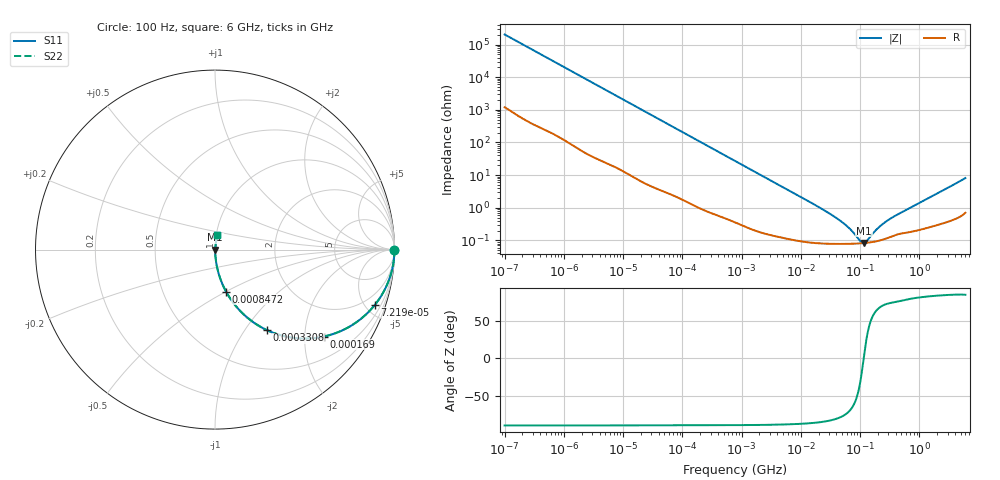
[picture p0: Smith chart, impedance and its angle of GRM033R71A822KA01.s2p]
!Murata Part Number: GRM033R71A822KA01
!These Parameters are Measured in Series Mode Connection
!Data Generated on Mar 30, 2021
!  o--ll--o
!Port1  Port2
!  o------o
!Operation Temp=25[degC], DC Bias Voltage=0[V]
!Freq. Start=100[Hz] Stop=6[GHz] 401[Steps]
# Hz S RI R 50
!Freq.(Hz) S11(Real) S11(Imag) S21(Real) S21(Imag) S12(Real) S12(Imag) S22(Real) S22(Imag)
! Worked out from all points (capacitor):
!   401 points, 100 Hz to 6 GHz, reference 50 ohm
!   read as one part in series: C = 7.78 nF near 109 Hz
!   lowest |Z| = 82.7 mohm at 116.7 MHz (marker M1)
!   series resonance near 115.1 MHz, so ESL is about 250 pH
!   S11 on the Smith chart (normalised r, x): 100 Hz: open; 72.19 kHz: 1.05, -5.79; 169 kHz: 1.02, -2.49; 330.8 kHz: 1.01, -1.27; 847.2 kHz: 1.01, -0.50; 6 GHz: 1.01, +0.16
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100  1 -0.00049  3.1e-06 0.00049  3.1e-06 0.00049  1 -0.00049
2008  0.9999 -0.00973  0.000147 0.00973  0.000147 0.00973  0.9999 -0.00973
12592  0.996 -0.0604  0.00404 0.0604  0.00404 0.0604  0.996 -0.0604
40335  0.9627 -0.186  0.0373 0.186  0.0373 0.186  0.9627 -0.186
72189  0.8916 -0.307  0.1084 0.307  0.1084 0.307  0.8916 -0.307
108014  0.7881 -0.4044  0.2119 0.4044  0.2119 0.4044  0.7881 -0.4044
169018  0.6061 -0.4842  0.3939 0.4842  0.3939 0.4842  0.6061 -0.4842
231233  0.4533 -0.4932  0.5467 0.4932  0.5467 0.4932  0.4533 -0.4932
330837  0.2906 -0.449  0.7094 0.449  0.7094 0.449  0.2906 -0.449
495019  0.1569 -0.358  0.8431 0.358  0.8431 0.358  0.1569 -0.358
774597  0.0725 -0.2529  0.9275 0.2529  0.9275 0.2529  0.0725 -0.2529
847162  0.0617 -0.2341  0.9383 0.2341  0.9383 0.2341  0.0617 -0.2341
2713602  0.00766 -0.078  0.9923 0.078  0.9923 0.078  0.00766 -0.078
1.555665e7  0.00103 -0.0136  0.999 0.0136  0.999 0.0136  0.00103 -0.0136
4.764863e7  0.00079 -0.00376  0.9992 0.00376  0.9992 0.00376  0.00079 -0.00376
6.817316e7  0.000787 -0.00206  0.9992 0.00206  0.9992 0.00206  0.000787 -0.00206
1.020051e8  0.000809 -0.000453  0.9992 0.000453  0.9992 0.000453  0.000809 -0.000453
1.166697e8  0.000825 5.15e-05  0.9992 -5.15e-05  0.9992 -5.15e-05  0.000825 5.15e-05
1.334425e8  0.000846 0.000556  0.9992 -0.000556  0.9992 -0.000556  0.000846 0.000556
2.088084e8  0.000981 0.00234  0.999 -0.00234  0.999 -0.00234  0.000981 0.00234
3.124326e8  0.00125 0.00424  0.9987 -0.00424  0.9987 -0.00424  0.00125 0.00424
6e9  0.0133 0.0793  0.9867 -0.0793  0.9867 -0.0793  0.0133 0.0793
